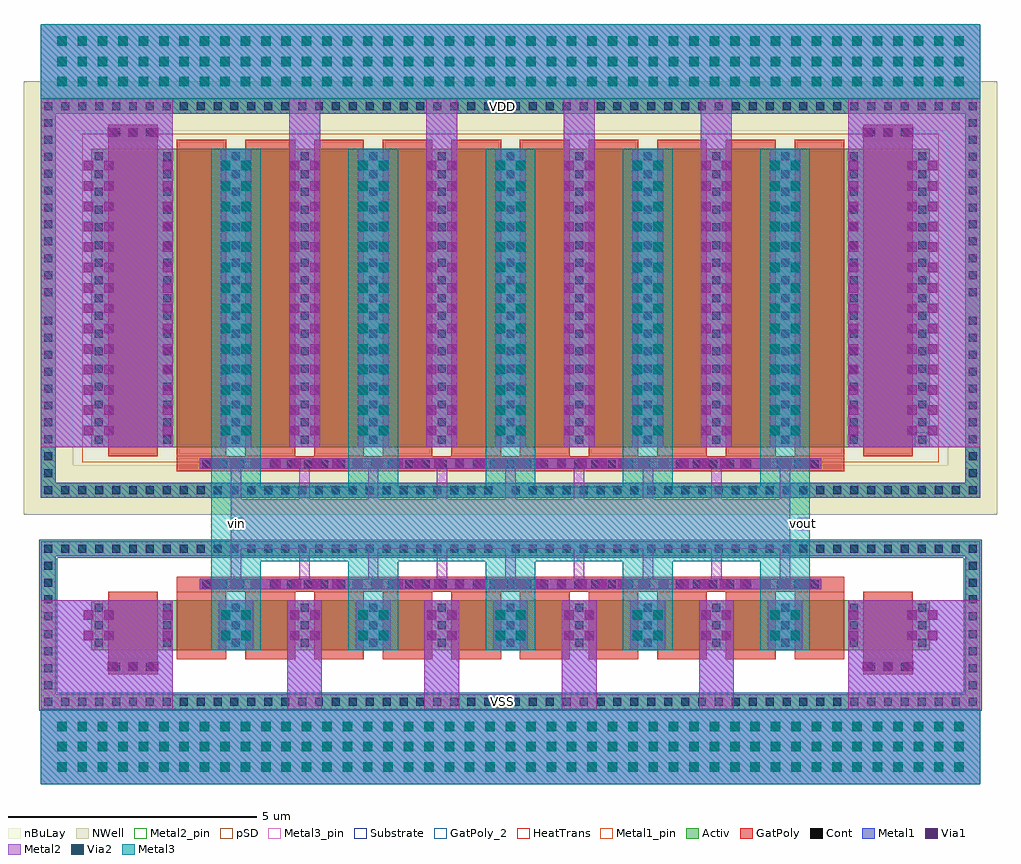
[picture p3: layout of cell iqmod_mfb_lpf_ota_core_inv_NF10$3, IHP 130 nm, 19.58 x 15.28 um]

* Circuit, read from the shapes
.subckt iqmod_mfb_lpf_ota_core_inv_NF10$3 VDD VSS vin vout
XM1 VSS VSS VSS VSS sg13_lv_nmos w=1u l=1u m=2
XM2 vout vin VSS VSS sg13_lv_nmos w=1u l=1u m=10
XM3 VDD VDD VDD VDD sg13_lv_pmos w=6u l=1u m=2
XM4 vout vin VDD VDD sg13_lv_pmos w=6u l=1u m=10
.ends

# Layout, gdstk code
import gdstk
lib = gdstk.Library(unit=1e-6, precision=1e-09)
def R(c, l, rs):  # rectangles x0, y0, x1, y1
    for r in rs: c.add(gdstk.rectangle(r[:2], r[2:], *l))
def A(c, l, x, y, w, h, nx, ny, dx, dy):  # array of equal rectangles
    R(c, l, [(x+i*dx, y+j*dy, x+i*dx+w, y+j*dy+h) for i in range(nx) for j in range(ny)])
def P(c, l, *ps):  # polygons
    for p in ps: c.add(gdstk.Polygon(p, *l))
Activ = (1, 0)
GatPoly = (5, 0)
GatPoly_2 = (5, 2)
Cont = (6, 0)
Metal1 = (8, 0)
Metal1_pin = (8, 2)
Metal2 = (10, 0)
Metal2_pin = (10, 2)
pSD = (14, 0)
Via1 = (19, 0)
Via2 = (29, 0)
Metal3 = (30, 0)
Metal3_pin = (30, 2)
NWell = (31, 0)
nBuLay = (32, 0)
Substrate = (40, 0)
HeatTrans = (51, 0)

pmos_73 = lib.new_cell('pmos$73')
A(pmos_73, Activ, 0, 0, 0.3, 0.3, 13, 1, 1.38, 0)
R(pmos_73, Activ, [(-1.01,-0.71,-0.71,6.71), (17.57,-0.71,17.87,6.71), (0,0,16.86,6), (-1.01,6.71,17.87,7.01)])
P(pmos_73, Activ, [(-1.01,-1.01),(-1.01,6.71),(-0.71,6.71),(-0.71,-0.71),(17.57,-0.71),(17.57,6.71),(-1.01,6.71),(-1.01,7.01),(17.87,7.01),(17.87,-1.01)])
A(pmos_73, GatPoly, 0.34, -0.18, 1, 6.36, 12, 1, 1.38, 0)
R(pmos_73, GatPoly, [(0.34,-0.18,1.34,6.18)])
A(pmos_73, Cont, -0.94, -0.94, 0.16, 0.16, 27, 2, 0.34, 7.72)
A(pmos_73, Cont, 8.46, -0.94, 0.16, 0.16, 28, 2, 0.34, 7.72)
A(pmos_73, Cont, -0.94, -0.6, 0.16, 0.16, 1, 10, 0, 0.34)
A(pmos_73, Cont, 17.64, -0.6, 0.16, 0.16, 1, 10, 0, 0.34)
A(pmos_73, Cont, 0.07, 0.07, 0.16, 0.16, 13, 4, 1.38, 0.355)
A(pmos_73, Cont, 0.07, 1.495, 0.16, 0.16, 13, 4, 1.38, 0.355)
A(pmos_73, Cont, 0.07, 2.92, 0.16, 0.16, 13, 4, 1.38, 0.355)
A(pmos_73, Cont, -0.94, 3.04, 0.16, 0.16, 1, 11, 0, 0.34)
A(pmos_73, Cont, 17.64, 3.04, 0.16, 0.16, 1, 11, 0, 0.34)
A(pmos_73, Cont, 0.07, 4.345, 0.16, 0.16, 13, 4, 1.38, 0.355)
A(pmos_73, Cont, 0.07, 5.77, 0.16, 0.16, 13, 1, 1.38, 0)
A(pmos_73, Metal1, 1.45, 0, 0.16, 6, 12, 1, 1.38, 0)
R(pmos_73, Metal1, [(-1.01,-1.01,17.87,-0.71), (-1.01,-0.71,-0.71,6.71), (17.57,-0.71,17.87,6.71), (0.07,0,0.23,6), (0.07,0,0.23,6), (1.45,0,1.61,6), (-1.01,6.71,17.87,7.01)])
R(pmos_73, pSD, [(-0.18,-0.3,17.04,6.3)])
R(pmos_73, NWell, [(-1.36,-1.36,18.22,7.36), (-0.31,-0.31,17.17,6.31)])
R(pmos_73, nBuLay, [(-1.36,-0.36,-0.36,6.36), (17.22,-0.36,18.22,6.36), (-1.36,6.36,18.22,7.36)])
P(pmos_73, nBuLay, [(-1.36,-1.36),(-1.36,6.36),(-0.36,6.36),(-0.36,-0.36),(17.22,-0.36),(17.22,6.36),(-1.36,6.36),(-1.36,7.36),(18.22,7.36),(18.22,-1.36)])
R(pmos_73, Substrate, [(16.56,0,16.86,0.3)])
A(pmos_73, HeatTrans, 0.34, -0.18, 1, 6.36, 12, 1, 1.38, 0)
pmos_73.add(gdstk.Label('pmos', (0.84,3), layer=63, texttype=0))
pmos_73.add(gdstk.Label('well', (8.43,-0.86), layer=63, texttype=0))
pmos_73.add(gdstk.Label('pmos', (0.84,3), layer=51, texttype=0))
pmos_73.add(gdstk.Label('pmos', (2.22,3), layer=51, texttype=0))
pmos_73.add(gdstk.Label('pmos', (3.6,3), layer=51, texttype=0))
pmos_73.add(gdstk.Label('pmos', (4.98,3), layer=51, texttype=0))
pmos_73.add(gdstk.Label('pmos', (6.36,3), layer=51, texttype=0))
pmos_73.add(gdstk.Label('pmos', (7.74,3), layer=51, texttype=0))
pmos_73.add(gdstk.Label('pmos', (9.12,3), layer=51, texttype=0))
pmos_73.add(gdstk.Label('pmos', (10.5,3), layer=51, texttype=0))
pmos_73.add(gdstk.Label('pmos', (11.88,3), layer=51, texttype=0))
pmos_73.add(gdstk.Label('pmos', (13.26,3), layer=51, texttype=0))
pmos_73.add(gdstk.Label('pmos', (14.64,3), layer=51, texttype=0))
pmos_73.add(gdstk.Label('pmos', (16.02,3), layer=51, texttype=0))

nmos_73 = lib.new_cell('nmos$73')
A(nmos_73, Activ, 0, 0, 0.3, 0.3, 13, 1, 1.38, 0)
R(nmos_73, Activ, [(-1.01,-0.89,-0.71,1.89), (17.57,-0.89,17.87,1.89), (0,0,16.86,1), (-1.01,1.89,17.87,2.19)])
P(nmos_73, Activ, [(-1.01,-1.19),(-1.01,1.89),(-0.71,1.89),(-0.71,-0.89),(17.57,-0.89),(17.57,1.89),(-1.01,1.89),(-1.01,2.19),(17.87,2.19),(17.87,-1.19)])
A(nmos_73, GatPoly, 0.34, -0.18, 1, 1.36, 12, 1, 1.38, 0)
R(nmos_73, GatPoly_2, [(0.34,-0.18,1.34,1.18)])
A(nmos_73, Cont, -0.94, -1.12, 0.16, 0.16, 27, 2, 0.34, 3.08)
A(nmos_73, Cont, 8.46, -1.12, 0.16, 0.16, 28, 2, 0.34, 3.08)
A(nmos_73, Cont, -0.94, -0.78, 0.16, 0.16, 1, 4, 0, 0.34)
A(nmos_73, Cont, 17.64, -0.78, 0.16, 0.16, 1, 4, 0, 0.34)
A(nmos_73, Cont, 0.07, 0.07, 0.16, 0.16, 13, 3, 1.38, 0.35)
A(nmos_73, Cont, -0.94, 0.6, 0.16, 0.16, 1, 4, 0, 0.34)
A(nmos_73, Cont, 17.64, 0.6, 0.16, 0.16, 1, 4, 0, 0.34)
A(nmos_73, Metal1, 0.07, 0, 0.16, 1, 13, 1, 1.38, 0)
R(nmos_73, Metal1, [(-1.01,-1.19,17.87,-0.89), (-1.01,-0.89,-0.71,1.89), (17.57,-0.89,17.87,1.89), (-1.01,1.89,17.87,2.19)])
R(nmos_73, Metal1_pin, [(0.07,0,0.23,1), (1.45,0,1.61,1)])
R(nmos_73, pSD, [(-1.04,-0.86,-0.68,1.86), (17.54,-0.86,17.9,1.86), (-1.04,1.86,17.9,2.22)])
P(nmos_73, pSD, [(-1.04,-1.22),(-1.04,1.86),(-0.68,1.86),(-0.68,-0.86),(17.54,-0.86),(17.54,1.86),(-1.04,1.86),(-1.04,2.22),(17.9,2.22),(17.9,-1.22)])
R(nmos_73, Substrate, [(-1.04,-0.86,-0.68,1.86), (17.54,-0.86,17.9,1.86), (-1.04,1.86,17.9,2.22)])
P(nmos_73, Substrate, [(-1.04,-1.22),(-1.04,1.86),(-0.68,1.86),(-0.68,-0.86),(17.54,-0.86),(17.54,1.86),(-1.04,1.86),(-1.04,2.22),(17.9,2.22),(17.9,-1.22)])
A(nmos_73, HeatTrans, 0.34, -0.18, 1, 1.36, 12, 1, 1.38, 0)
nmos_73.add(gdstk.Label('nmos', (0.84,0.5), layer=63, texttype=0))
nmos_73.add(gdstk.Label('sub!', (8.43,-1.04), layer=63, texttype=0))
nmos_73.add(gdstk.Label('nmos', (0.84,0.5), layer=51, texttype=0))
nmos_73.add(gdstk.Label('nmos', (2.22,0.5), layer=51, texttype=0))
nmos_73.add(gdstk.Label('nmos', (3.6,0.5), layer=51, texttype=0))
nmos_73.add(gdstk.Label('nmos', (4.98,0.5), layer=51, texttype=0))
nmos_73.add(gdstk.Label('nmos', (6.36,0.5), layer=51, texttype=0))
nmos_73.add(gdstk.Label('nmos', (7.74,0.5), layer=51, texttype=0))
nmos_73.add(gdstk.Label('nmos', (9.12,0.5), layer=51, texttype=0))
nmos_73.add(gdstk.Label('nmos', (10.5,0.5), layer=51, texttype=0))
nmos_73.add(gdstk.Label('nmos', (11.88,0.5), layer=51, texttype=0))
nmos_73.add(gdstk.Label('nmos', (13.26,0.5), layer=51, texttype=0))
nmos_73.add(gdstk.Label('nmos', (14.64,0.5), layer=51, texttype=0))
nmos_73.add(gdstk.Label('nmos', (16.02,0.5), layer=51, texttype=0))

via_stack_672 = lib.new_cell('via_stack$672')
R(via_stack_672, Metal1, [(-9.165,-0.515,9.165,0.515)])
R(via_stack_672, Metal2, [(-9.165,-0.51,9.165,0.51)])
A(via_stack_672, Via1, -9.115, -0.505, 0.19, 0.19, 45, 3, 0.41, 0.41)
A(via_stack_672, Via2, -9.115, -0.505, 0.19, 0.19, 45, 3, 0.41, 0.41)
R(via_stack_672, Metal3, [(-9.165,-0.51,9.165,0.51)])

via_stack_673 = lib.new_cell('via_stack$673')
R(via_stack_673, Metal1, [(-6.09,-0.105,6.09,0.105)])
R(via_stack_673, Metal2, [(-6.09,-0.1,6.09,0.1)])
A(via_stack_673, Via1, -6.04, -0.095, 0.19, 0.19, 30, 1, 0.41, 0)

via_stack_674 = lib.new_cell('via_stack$674')
R(via_stack_674, Metal1, [(-0.35,-0.31,0.35,0.31)])
R(via_stack_674, Metal2, [(-0.35,-0.305,0.35,0.305)])
R(via_stack_674, Via1, [(-0.3,-0.3,-0.11,-0.11), (0.11,-0.3,0.3,-0.11), (-0.3,0.11,-0.11,0.3), (0.11,0.11,0.3,0.3)])

via_stack_675 = lib.new_cell('via_stack$675')
R(via_stack_675, Metal1, [(-0.31,-2.81,0.31,2.81)])
R(via_stack_675, Metal2, [(-0.305,-2.81,0.305,2.81)])
A(via_stack_675, Via1, -0.3, -2.76, 0.19, 0.19, 1, 14, 0, 0.41)
A(via_stack_675, Via1, 0.11, -2.76, 0.19, 0.19, 1, 14, 0, 0.41)
A(via_stack_675, Via2, -0.3, -2.76, 0.19, 0.19, 1, 14, 0, 0.41)
A(via_stack_675, Via2, 0.11, -2.76, 0.19, 0.19, 1, 14, 0, 0.41)
R(via_stack_675, Metal3, [(-0.305,-2.81,0.305,2.81)])

via_stack_676 = lib.new_cell('via_stack$676')
R(via_stack_676, GatPoly, [(-6.27,-0.15,6.27,0.15)])
A(via_stack_676, Cont, -6.2, -0.08, 0.16, 0.16, 37, 1, 0.34, 0)
R(via_stack_676, Metal1, [(-6.25,-0.08,6.25,0.08)])

via_stack_677 = lib.new_cell('via_stack$677')
R(via_stack_677, Metal1, [(-0.35,-0.31,0.35,0.31)])
R(via_stack_677, Metal2, [(-0.35,-0.305,0.35,0.305)])
R(via_stack_677, Via1, [(-0.3,-0.3,-0.11,-0.11), (0.11,-0.3,0.3,-0.11), (-0.3,0.11,-0.11,0.3), (0.11,0.11,0.3,0.3)])
R(via_stack_677, Via2, [(-0.3,-0.3,-0.11,-0.11), (0.11,-0.3,0.3,-0.11), (-0.3,0.11,-0.11,0.3), (0.11,0.11,0.3,0.3)])
R(via_stack_677, Metal3, [(-0.35,-0.305,0.35,0.305)])

via_stack_678 = lib.new_cell('via_stack$678')
R(via_stack_678, Metal1, [(-0.105,-0.35,0.105,0.35)])
R(via_stack_678, Metal2, [(-0.1,-0.35,0.1,0.35)])
R(via_stack_678, Via1, [(-0.095,-0.3,0.095,-0.11), (-0.095,0.11,0.095,0.3)])

via_stack_679 = lib.new_cell('via_stack$679')
R(via_stack_679, Metal1, [(-0.31,-2.81,0.31,2.81)])
R(via_stack_679, Metal2, [(-0.305,-2.81,0.305,2.81)])
A(via_stack_679, Via1, -0.3, -2.76, 0.19, 0.19, 1, 14, 0, 0.41)
A(via_stack_679, Via1, 0.11, -2.76, 0.19, 0.19, 1, 14, 0, 0.41)

via_stack_680 = lib.new_cell('via_stack$680')
R(via_stack_680, Metal1, [(-0.105,-2.81,0.105,2.81)])
R(via_stack_680, Metal2, [(-0.1,-2.81,0.1,2.81)])
A(via_stack_680, Via1, -0.095, -2.76, 0.19, 0.19, 1, 14, 0, 0.41)

via_stack_681 = lib.new_cell('via_stack$681')
R(via_stack_681, GatPoly, [(-0.49,-0.15,0.49,0.15)])
A(via_stack_681, Cont, -0.42, -0.08, 0.16, 0.16, 3, 1, 0.34, 0)
R(via_stack_681, Metal1, [(-0.555,-0.105,0.555,0.105)])
R(via_stack_681, Metal2, [(-0.555,-0.1,0.555,0.1)])
A(via_stack_681, Via1, -0.505, -0.095, 0.19, 0.19, 3, 1, 0.41, 0)

iqmod_mfb_lpf_ota_core_i = lib.new_cell('iqmod_mfb_lpf_ota_core_inv_NF10$3')
R(iqmod_mfb_lpf_ota_core_i, GatPoly, [(1.7,2.21,2.7,2.51), (16.88,2.21,17.88,2.51), (3.08,3.87,16.5,4.17), (3.08,6.29,16.5,6.59), (1.7,12.95,2.7,13.25), (16.88,12.95,17.88,13.25)])
A(iqmod_mfb_lpf_ota_core_i, Metal1, 5.3, 1.5, 0.7, 2.19, 4, 1, 2.76, 0)
A(iqmod_mfb_lpf_ota_core_i, Metal1, 3.92, 2.69, 0.7, 1, 9, 1, 1.38, 0)
A(iqmod_mfb_lpf_ota_core_i, Metal1, 3.96, 6.77, 0.62, 6, 9, 1, 1.38, 0)
A(iqmod_mfb_lpf_ota_core_i, Metal1, 5.34, 6.77, 0.62, 7.01, 4, 1, 2.76, 0)
R(iqmod_mfb_lpf_ota_core_i, Metal1, [(0.35,0,19.23,1.5), (0.35,1.5,2.995,3.69), (9.37,1.5,9.87,1.8), (16.585,1.5,19.23,3.69), (1.645,2.21,2.755,2.51), (16.825,2.21,17.935,2.51), (1.16,2.69,1.86,3.69), (17.72,2.69,18.42,3.69), (3.54,3.915,16.04,4.125), (3.54,6.335,16.04,6.545), (0.35,6.77,2.995,13.78), (1.2,6.77,1.82,12.77), (2.785,6.77,2.995,12.77), (16.585,6.77,19.23,13.78), (16.585,6.77,16.795,12.77), (17.76,6.77,18.38,12.77), (1.645,12.95,2.755,13.25), (16.825,12.95,17.935,13.25), (9.37,13.48,9.87,13.78), (0.35,13.78,19.23,15.28)])
R(iqmod_mfb_lpf_ota_core_i, Metal1_pin, [(9.495,1.525,9.745,1.775), (9.495,13.505,9.745,13.755)])
A(iqmod_mfb_lpf_ota_core_i, Metal2, 5.3, 1.5, 0.7, 2.19, 4, 1, 2.76, 0)
A(iqmod_mfb_lpf_ota_core_i, Metal2, 3.92, 2.69, 0.7, 1, 9, 1, 1.38, 0)
A(iqmod_mfb_lpf_ota_core_i, Metal2, 4.165, 4.12, 0.21, 2.22, 9, 1, 1.38, 0)
A(iqmod_mfb_lpf_ota_core_i, Metal2, 3.96, 6.77, 0.62, 6, 9, 1, 1.38, 0)
A(iqmod_mfb_lpf_ota_core_i, Metal2, 5.34, 6.77, 0.62, 7.01, 4, 1, 2.76, 0)
R(iqmod_mfb_lpf_ota_core_i, Metal2, [(0.35,0,19.23,1.5), (0.35,1.5,2.995,3.69), (16.585,1.5,19.23,3.69), (1.645,2.21,2.755,2.51), (16.825,2.21,17.935,2.51), (1.16,2.69,1.86,3.69), (17.72,2.69,18.42,3.69), (3.54,3.915,16.04,4.125), (4.165,4.73,15.415,5.73), (3.54,6.335,16.04,6.545), (0.35,6.77,2.995,13.78), (1.2,6.77,1.82,12.77), (2.785,6.77,2.995,12.77), (16.585,6.77,19.23,13.78), (16.585,6.77,16.795,12.77), (17.76,6.77,18.38,12.77), (1.645,12.95,2.755,13.25), (16.825,12.95,17.935,13.25), (0.35,13.78,19.23,15.28)])
R(iqmod_mfb_lpf_ota_core_i, Metal2_pin, [(4.165,5.105,4.415,5.355)])
A(iqmod_mfb_lpf_ota_core_i, Metal3, 3.77, 2.69, 1, 10.08, 5, 1, 2.76, 0)
R(iqmod_mfb_lpf_ota_core_i, Metal3, [(0.35,0,19.23,1.5), (3.77,4.48,15.81,5.98), (0.35,13.78,19.23,15.28)])
R(iqmod_mfb_lpf_ota_core_i, Metal3_pin, [(15.56,5.105,15.81,5.355)])
iqmod_mfb_lpf_ota_core_i.add(gdstk.Reference(pmos_73, (1.36,6.77)))
iqmod_mfb_lpf_ota_core_i.add(gdstk.Reference(nmos_73, (1.36,2.69)))
iqmod_mfb_lpf_ota_core_i.add(gdstk.Reference(via_stack_672, (9.79,14.53)))
iqmod_mfb_lpf_ota_core_i.add(gdstk.Reference(via_stack_673, (9.79,6.44)))
iqmod_mfb_lpf_ota_core_i.add(gdstk.Reference(via_stack_673, (9.79,4.02)))
iqmod_mfb_lpf_ota_core_i.add(gdstk.Reference(via_stack_674, (11.17,3.19)))
iqmod_mfb_lpf_ota_core_i.add(gdstk.Reference(via_stack_675, (4.27,9.77)))
iqmod_mfb_lpf_ota_core_i.add(gdstk.Reference(via_stack_676, (9.79,4.02)))
iqmod_mfb_lpf_ota_core_i.add(gdstk.Reference(via_stack_677, (4.27,3.19)))
iqmod_mfb_lpf_ota_core_i.add(gdstk.Reference(via_stack_677, (7.03,3.19)))
iqmod_mfb_lpf_ota_core_i.add(gdstk.Reference(via_stack_674, (18.07,3.19)))
iqmod_mfb_lpf_ota_core_i.add(gdstk.Reference(via_stack_674, (8.41,3.19)))
iqmod_mfb_lpf_ota_core_i.add(gdstk.Reference(via_stack_674, (5.65,3.19)))
iqmod_mfb_lpf_ota_core_i.add(gdstk.Reference(via_stack_678, (16.69,3.19)))
iqmod_mfb_lpf_ota_core_i.add(gdstk.Reference(via_stack_674, (1.51,3.19)))
iqmod_mfb_lpf_ota_core_i.add(gdstk.Reference(via_stack_677, (9.79,3.19)))
iqmod_mfb_lpf_ota_core_i.add(gdstk.Reference(via_stack_678, (2.89,3.19)))
iqmod_mfb_lpf_ota_core_i.add(gdstk.Reference(via_stack_679, (18.07,9.77)))
iqmod_mfb_lpf_ota_core_i.add(gdstk.Reference(via_stack_675, (9.79,9.77)))
iqmod_mfb_lpf_ota_core_i.add(gdstk.Reference(via_stack_680, (16.69,9.77)))
iqmod_mfb_lpf_ota_core_i.add(gdstk.Reference(via_stack_680, (2.89,9.77)))
iqmod_mfb_lpf_ota_core_i.add(gdstk.Reference(via_stack_679, (1.51,9.77)))
iqmod_mfb_lpf_ota_core_i.add(gdstk.Reference(via_stack_675, (7.03,9.77)))
iqmod_mfb_lpf_ota_core_i.add(gdstk.Reference(via_stack_679, (5.65,9.77)))
iqmod_mfb_lpf_ota_core_i.add(gdstk.Reference(via_stack_679, (8.41,9.77)))
iqmod_mfb_lpf_ota_core_i.add(gdstk.Reference(via_stack_681, (2.2,2.36)))
iqmod_mfb_lpf_ota_core_i.add(gdstk.Reference(via_stack_681, (17.38,2.36)))
iqmod_mfb_lpf_ota_core_i.add(gdstk.Reference(via_stack_681, (2.2,13.1)))
iqmod_mfb_lpf_ota_core_i.add(gdstk.Reference(via_stack_681, (17.38,13.1)))
iqmod_mfb_lpf_ota_core_i.add(gdstk.Reference(via_stack_675, (12.55,9.77)))
iqmod_mfb_lpf_ota_core_i.add(gdstk.Reference(via_stack_676, (9.79,6.44)))
iqmod_mfb_lpf_ota_core_i.add(gdstk.Reference(via_stack_677, (12.55,3.19)))
iqmod_mfb_lpf_ota_core_i.add(gdstk.Reference(via_stack_677, (15.31,3.19)))
iqmod_mfb_lpf_ota_core_i.add(gdstk.Reference(via_stack_674, (13.93,3.19)))
iqmod_mfb_lpf_ota_core_i.add(gdstk.Reference(via_stack_675, (15.31,9.77)))
iqmod_mfb_lpf_ota_core_i.add(gdstk.Reference(via_stack_679, (11.17,9.77)))
iqmod_mfb_lpf_ota_core_i.add(gdstk.Reference(via_stack_679, (13.93,9.77)))
iqmod_mfb_lpf_ota_core_i.add(gdstk.Reference(via_stack_672, (9.79,0.75)))
iqmod_mfb_lpf_ota_core_i.add(gdstk.Label('vin', (4.29,5.23), layer=10, texttype=25))
iqmod_mfb_lpf_ota_core_i.add(gdstk.Label('VDD', (9.62,13.63), layer=8, texttype=25))
iqmod_mfb_lpf_ota_core_i.add(gdstk.Label('VSS', (9.62,1.65), layer=8, texttype=25))
iqmod_mfb_lpf_ota_core_i.add(gdstk.Label('vout', (15.685,5.23), layer=30, texttype=25))

lib.write_gds('iqmod_mfb_lpf_ota_core_inv_NF10_3.gds')
